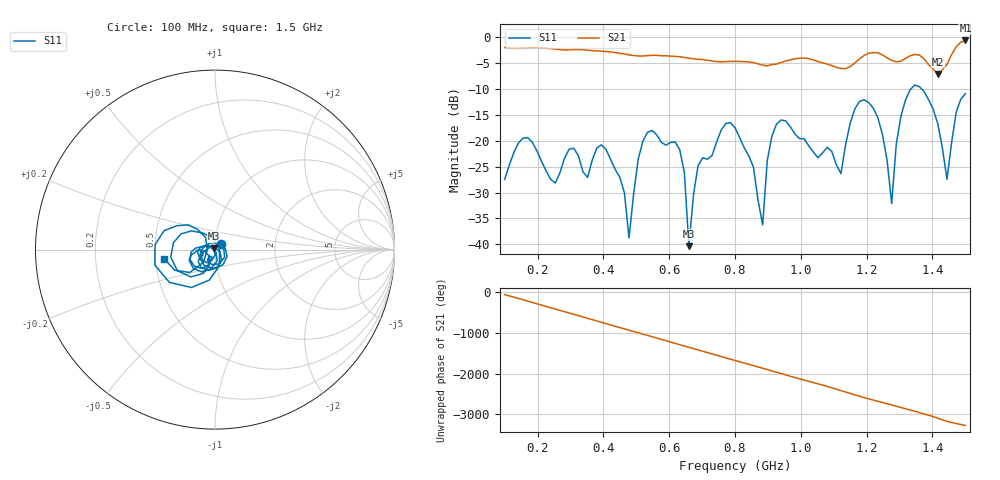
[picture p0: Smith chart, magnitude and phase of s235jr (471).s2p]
! NanoVNA-App
! Date: 2025-09-25 15:07:49
! Start: 100MHz Stop: 1,5GHz Points: 101
! S-Parameter data: F S11 S21 S12 S22
# Hz S RI R 50
!  Frequency  S11_Real  S11_Imag  S21_Real  S21_Imag  S12_Real  S12_Imag  S22_Real  S22_Imag
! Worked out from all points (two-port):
!   101 points, 100 MHz to 1.5 GHz, reference 50 ohm
!   highest |S21| = -0.58 dB at 1.5 GHz (marker M1); lowest = -7.0 dB at 1.416 GHz (marker M2)
!   |S21| within 3 dB of the highest: start of sweep to 517.2 MHz; 520.2 MHz to 597.9 MHz (77.73 MHz wide, 13.9 % of centre) (the widest 2 of 5)
!   lowest |S11| = -40.4 dB at 660 MHz (marker M3), VSWR 1.02, Z = 49.3 + j0.631 ohm
!   |S11| at or under -10 dB: start of sweep to 1.334 GHz; 1.368 GHz to end of sweep
!   S12 and S22 are empty: the file has one direction only
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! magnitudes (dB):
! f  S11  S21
! 100 MHz  -27.5  -2.0
! 156 MHz  -19.5  -2.1
! 338 MHz  -26.0  -2.4
! 408 MHz  -21.6  -2.7
! 478 MHz  -38.8  -3.4
! 520 MHz  -20.1  -3.6
! 576 MHz  -20.3  -3.5
! 632 MHz  -21.7  -3.7
! 660 MHz  -40.4  -4.0
! 688 MHz  -24.7  -4.2
! 800 MHz  -17.4  -4.6
! 884 MHz  -36.3  -5.3
! 926 MHz  -16.8  -5.2
! 1.038 GHz  -22.2  -4.3
! 1.122 GHz  -26.3  -6.0
! 1.206 GHz  -12.6  -3.1
! 1.276 GHz  -32.1  -4.4
! 1.29 GHz  -20.6  -4.7
! 1.332 GHz  -10.1  -3.5
! 1.416 GHz  -16.6  -7.0
! 1.444 GHz  -27.4  -5.2
! 1.5 GHz  -10.9  -0.6
